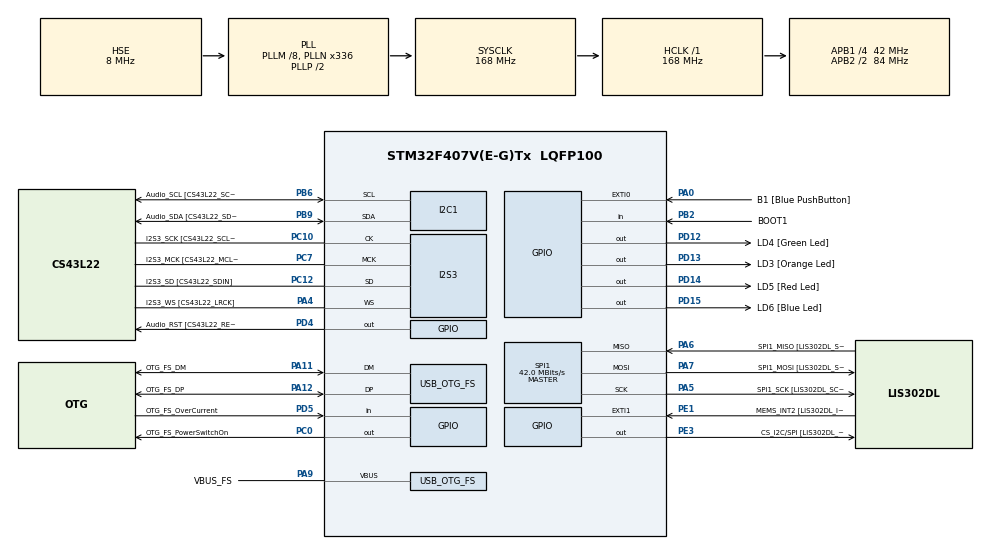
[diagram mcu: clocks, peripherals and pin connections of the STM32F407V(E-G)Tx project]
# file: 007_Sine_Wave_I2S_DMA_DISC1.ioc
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I2S3.AudioFreq=I2S_AUDIOFREQ_96K
I2S3.AudioFreq-Half_Duplex_Master=I2S_AUDIOFREQ_96K
I2S3.ErrorAudioFreq=-0.01 %
I2S3.ErrorAudioFreq-Half_Duplex_Master=0.8 %
I2S3.FullDuplexMode=I2S_FULLDUPLEXMODE_DISABLE
I2S3.Instance=SPI$Index
I2S3.RealAudioFreq=95.982 KHz
I2S3.RealAudioFreq-Half_Duplex_Master=96.774 KHz
I2S3.VirtualMode=I2S_MODE_MASTER
Mcu.Family=STM32F4
Mcu.Name=STM32F407V(E-G)Tx
Mcu.Package=LQFP100
NVIC.OTG_FS_IRQn=true\:0\:0\:false\:false\:true\:true\:true\:true
NVIC.PriorityGroup=NVIC_PRIORITYGROUP_0
NVIC.SPI3_IRQn=true\:0\:0\:false\:false\:true\:true\:true\:true
PA0-WKUP.GPIO_Label=B1 [Blue PushButton]
PA0-WKUP.GPIO_ModeDefaultEXTI=GPIO_MODE_EVT_RISING
PA0-WKUP.GPIO_PuPd=GPIO_NOPULL
PA0-WKUP.Signal=GPXTI0
PA10.GPIO_Label=OTG_FS_ID
PA10.GPIO_Mode=GPIO_MODE_AF_PP
PA10.GPIO_PuPd=GPIO_NOPULL
PA10.GPIO_Speed=GPIO_SPEED_FREQ_LOW
PA10.Signal=USB_OTG_FS_ID
PA11.GPIO_Label=OTG_FS_DM
PA11.GPIO_Mode=GPIO_MODE_AF_PP
PA11.GPIO_PuPd=GPIO_NOPULL
PA11.GPIO_Speed=GPIO_SPEED_FREQ_LOW
PA11.Mode=Host_Only
PA11.Signal=USB_OTG_FS_DM
PA12.GPIO_Label=OTG_FS_DP
PA12.GPIO_Mode=GPIO_MODE_AF_PP
PA12.GPIO_PuPd=GPIO_NOPULL
PA12.GPIO_Speed=GPIO_SPEED_FREQ_LOW
PA12.Mode=Host_Only
PA12.Signal=USB_OTG_FS_DP
PA13.GPIO_Label=SWDIO
PA13.Mode=Trace_Asynchronous_SW
PA13.Signal=SYS_JTMS-SWDIO
PA14.GPIO_Label=SWCLK
PA14.Mode=Trace_Asynchronous_SW
PA14.Signal=SYS_JTCK-SWCLK
PA4.GPIO_Label=I2S3_WS [CS43L22_LRCK]
PA4.GPIO_Mode=GPIO_MODE_AF_PP
PA4.GPIO_PuPd=GPIO_NOPULL
PA4.GPIO_Speed=GPIO_SPEED_FREQ_LOW
PA4.Mode=Half_Duplex_Master
PA4.Signal=I2S3_WS
PA5.GPIO_Label=SPI1_SCK [LIS302DL_SCL/SPC]
PA5.GPIO_Mode=GPIO_MODE_AF_PP
PA5.GPIO_PuPd=GPIO_NOPULL
PA5.GPIO_Speed=GPIO_SPEED_FREQ_LOW
PA5.Mode=Full_Duplex_Master
PA5.Signal=SPI1_SCK
PA6.GPIO_Label=SPI1_MISO [LIS302DL_SDO]
PA6.GPIO_Mode=GPIO_MODE_AF_PP
PA6.GPIO_PuPd=GPIO_NOPULL
PA6.GPIO_Speed=GPIO_SPEED_FREQ_LOW
PA6.Mode=Full_Duplex_Master
PA6.Signal=SPI1_MISO
PA7.GPIO_Label=SPI1_MOSI [LIS302DL_SDA/SDI/SDO]
PA7.GPIO_Mode=GPIO_MODE_AF_PP
PA7.GPIO_PuPd=GPIO_NOPULL
PA7.GPIO_Speed=GPIO_SPEED_FREQ_LOW
PA7.Mode=Full_Duplex_Master
PA7.Signal=SPI1_MOSI
PA9.GPIO_Label=VBUS_FS
PA9.GPIO_Mode=GPIO_MODE_INPUT
PA9.GPIO_PuPd=GPIO_NOPULL
PA9.Mode=Activate_VBUS
PA9.Signal=USB_OTG_FS_VBUS
PB10.GPIO_Label=CLK_IN [MP45DT02_CLK]
PB10.GPIO_Mode=GPIO_MODE_AF_PP
PB10.GPIO_PuPd=GPIO_NOPULL
PB10.GPIO_Speed=GPIO_SPEED_FREQ_LOW
PB10.Signal=I2S2_CK
PB2.GPIO_Label=BOOT1
PB2.GPIO_Mode=GPIO_MODE_INPUT
PB2.GPIO_PuPd=GPIO_NOPULL
PB2.Signal=GPIO_Input
PB3.GPIO_Label=SWO
PB3.Mode=Trace_Asynchronous_SW
PB3.Signal=SYS_JTDO-SWO
PB6.GPIO_Label=Audio_SCL [CS43L22_SCL]
PB6.GPIO_Mode=GPIO_MODE_AF_OD
PB6.GPIO_Pu=GPIO_PULLUP
PB6.GPIO_PuPd=GPIO_NOPULL
PB6.GPIO_Speed=GPIO_SPEED_FREQ_LOW
PB6.Mode=I2C
PB6.Signal=I2C1_SCL
PB9.GPIO_Label=Audio_SDA [CS43L22_SDA]
PB9.GPIO_Mode=GPIO_MODE_AF_OD
PB9.GPIO_Pu=GPIO_PULLUP
PB9.GPIO_PuPd=GPIO_NOPULL
PB9.GPIO_Speed=GPIO_SPEED_FREQ_LOW
PB9.Mode=I2C
PB9.Signal=I2C1_SDA
PC0.GPIO_Label=OTG_FS_PowerSwitchOn
PC0.GPIO_PuPd=GPIO_NOPULL
PC0.GPIO_Speed=GPIO_SPEED_FREQ_LOW
PC0.PinState=GPIO_PIN_SET
PC0.Signal=GPIO_Output
PC10.GPIO_Label=I2S3_SCK [CS43L22_SCLK]
PC10.GPIO_Mode=GPIO_MODE_AF_PP
PC10.GPIO_PuPd=GPIO_NOPULL
PC10.GPIO_Speed=GPIO_SPEED_FREQ_LOW
PC10.Mode=Half_Duplex_Master
PC10.Signal=I2S3_CK
PC12.GPIO_Label=I2S3_SD [CS43L22_SDIN]
PC12.GPIO_Mode=GPIO_MODE_AF_PP
PC12.GPIO_PuPd=GPIO_NOPULL
PC12.GPIO_Speed=GPIO_SPEED_FREQ_LOW
PC12.Mode=Half_Duplex_Master
PC12.Signal=I2S3_SD
PC14-OSC32_IN.GPIO_Label=PC14-OSC32_IN
PC14-OSC32_IN.Mode=LSE-External-Oscillator
PC14-OSC32_IN.Signal=RCC_OSC32_IN
PC15-OSC32_OUT.GPIO_Label=PC15-OSC32_OUT
PC15-OSC32_OUT.Mode=LSE-External-Oscillator
PC15-OSC32_OUT.Signal=RCC_OSC32_OUT
PC3.GPIO_Label=PDM_OUT [MP45DT02_DOUT]
PC3.GPIO_Mode=GPIO_MODE_AF_PP
PC3.GPIO_PuPd=GPIO_NOPULL
PC3.GPIO_Speed=GPIO_SPEED_FREQ_LOW
PC3.Signal=I2S2_SD
PC7.GPIO_Label=I2S3_MCK [CS43L22_MCLK]
PC7.GPIO_Mode=GPIO_MODE_AF_PP
PC7.GPIO_PuPd=GPIO_NOPULL
PC7.GPIO_Speed=GPIO_SPEED_FREQ_LOW
PC7.Mode=Master_Clock_Activated
PC7.Signal=I2S3_MCK
PD12.GPIO_Label=LD4 [Green Led]
PD12.GPIO_PuPd=GPIO_NOPULL
PD12.GPIO_Speed=GPIO_SPEED_FREQ_LOW
PD12.Signal=GPIO_Output
PD13.GPIO_Label=LD3 [Orange Led]
PD13.GPIO_PuPd=GPIO_NOPULL
PD13.GPIO_Speed=GPIO_SPEED_FREQ_LOW
PD13.Signal=GPIO_Output
PD14.GPIO_Label=LD5 [Red Led]
PD14.GPIO_PuPd=GPIO_NOPULL
PD14.GPIO_Speed=GPIO_SPEED_FREQ_LOW
PD14.Signal=GPIO_Output
PD15.GPIO_Label=LD6 [Blue Led]
PD15.GPIO_PuPd=GPIO_NOPULL
PD15.GPIO_Speed=GPIO_SPEED_FREQ_LOW
PD15.Signal=GPIO_Output
PD4.GPIO_Label=Audio_RST [CS43L22_RESET]
PD4.GPIO_PuPd=GPIO_NOPULL
PD4.GPIO_Speed=GPIO_SPEED_FREQ_LOW
PD4.Signal=GPIO_Output
PD5.GPIO_Label=OTG_FS_OverCurrent
PD5.GPIO_Mode=GPIO_MODE_INPUT
PD5.GPIO_PuPd=GPIO_NOPULL
PD5.Signal=GPIO_Input
PE1.GPIO_Label=MEMS_INT2 [LIS302DL_INT2]
PE1.GPIO_ModeDefaultEXTI=GPIO_MODE_EVT_RISING
PE1.GPIO_PuPd=GPIO_NOPULL
PE1.Signal=GPXTI1
PE3.GPIO_Label=CS_I2C/SPI [LIS302DL_CS_I2C/SPI]
PE3.GPIO_PuPd=GPIO_NOPULL
PE3.GPIO_Speed=GPIO_SPEED_FREQ_LOW
PE3.Signal=GPIO_Output
PH0-OSC_IN.GPIO_Label=PH0-OSC_IN
PH0-OSC_IN.Mode=HSE-External-Oscillator
PH0-OSC_IN.Signal=RCC_OSC_IN
PH1-OSC_OUT.GPIO_Label=PH1-OSC_OUT
PH1-OSC_OUT.Mode=HSE-External-Oscillator
PH1-OSC_OUT.Signal=RCC_OSC_OUT
ProjectManager.HeapSize=0x200
ProjectManager.StackSize=0x400
ProjectManager.TargetToolchain=STM32CubeIDE
RCC.48MHZClocksFreq_Value=48000000
RCC.AHBFreq_Value=168000000
RCC.APB1CLKDivider=RCC_HCLK_DIV4
RCC.APB1Freq_Value=42000000
RCC.APB1TimFreq_Value=84000000
RCC.APB2CLKDivider=RCC_HCLK_DIV2
RCC.APB2Freq_Value=84000000
RCC.APB2TimFreq_Value=168000000
RCC.CortexFreq_Value=168000000
RCC.HCLKFreq_Value=168000000
RCC.HSE_VALUE=8000000
RCC.HSI_VALUE=16000000
RCC.PLLI2SN=344
RCC.PLLM=8
RCC.PLLN=336
RCC.PLLQ=7
RCC.SYSCLKFreq_VALUE=168000000
RCC.SYSCLKSource=RCC_SYSCLKSOURCE_PLLCLK
RCC.VCOOutputFreq_Value=336000000
SPI1.BaudRatePrescaler=SPI_BAUDRATEPRESCALER_2
SPI1.BaudRatePrescaler-Full_Duplex_Master=SPI_BAUDRATEPRESCALER_2
SPI1.CalculateBaudRate=42.0 MBits/s
SPI1.CalculateBaudRate-Full_Duplex_Master=42.0 MBits/s
SPI1.Direction=SPI_DIRECTION_2LINES
SPI1.Mode=SPI_MODE_MASTER
SPI1.Mode-Full_Duplex_Master=SPI_MODE_MASTER
SPI1.VirtualType=VM_MASTER
USB_HOST.BSP.number=1
USB_HOST.USBH_HandleTypeDef-CDC_FS=hUsbHostFS
USB_HOST.VirtualModeFS=Cdc
USB_HOST0.BSP.STBoard=false
USB_HOST0.BSP.api=Unknown
USB_HOST0.BSP.instance=PC0
USB_HOST0.BSP.ip=GPIO
USB_HOST0.BSP.mode=Output
USB_HOST0.BSP.name=Drive_VBUS_FS
USB_HOST0.BSP.solution=PC0
USB_OTG_FS.VirtualMode=Host_Only
USB_OTG_FS.phy_itface=HCD_PHY_EMBEDDED
VP_USB_HOST_VS_USB_HOST_CDC_FS.Mode=CDC_FS
board=STM32F407G-DISC1

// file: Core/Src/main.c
/* USER CODE BEGIN Header */
/**
  ******************************************************************************
  * @file           : main.c
  * @brief          : Main program body
  ******************************************************************************
  * @attention
  *
  * Copyright (c) 2025 STMicroelectronics.
  * All rights reserved.
  *
  * This software is licensed under terms that can be found in the LICENSE file
  * in the root directory of this software component.
  * If no LICENSE file comes with this software, it is provided AS-IS.
  *
  ******************************************************************************
  */
/* USER CODE END Header */
#include "main.h"
#include "usb_host.h"

/* USER CODE BEGIN Includes */

#include <stdio.h>
#include <math.h>
#include "arm_math.h"
#include "cs43l22.h"

/* USER CODE END Includes */

/* USER CODE BEGIN PD */

#define TAU 6.283185307179586476925286766559
#define I2S_DMA_BUFFER_SAMPLES 96
#define I2S_DMA_BUFFER_SIZE 2 * 2 * I2S_DMA_BUFFER_SAMPLES
#define SAMPLE_FREQ 96000
#define OUTPUT_MID 32767

/* USER CODE END PD */

I2C_HandleTypeDef hi2c1;

I2S_HandleTypeDef hi2s3;

SPI_HandleTypeDef hspi1;

/* USER CODE BEGIN PV */

CS43L22_HandleTypeDef cs;

int16_t i2s_dma_buffer[I2S_DMA_BUFFER_SIZE];

float angle[2] = {
  0,
  0
};

float angle_change[2] = {
  440.0 * (TAU / SAMPLE_FREQ), // left
  880.0 * (TAU / SAMPLE_FREQ)  // right
};

float amplification[2] = {
  1,
  1
};

uint8_t dma_buffer_processing = 0;
uint32_t dma_overflow = 0;

uint32_t i2c_cb, i2c_hcb;

/* USER CODE END PV */

void SystemClock_Config(void);
static void MX_GPIO_Init(void);
static void MX_I2C1_Init(void);
static void MX_I2S3_Init(void);
static void MX_SPI1_Init(void);
void MX_USB_HOST_Process(void);

/* USER CODE BEGIN 0 */

int _write(int file, char *ptr, int len) {
  for (int i = 0; i < len; ++i) {
    ITM_SendChar(*ptr++);
  }
  return len;
}

void process_buffer(int16_t *buffer) {

  dma_buffer_processing = 1;

  for (int i = 0; i < I2S_DMA_BUFFER_SAMPLES; ++i) { // Two samples left/right per step

    buffer[i * 2] = OUTPUT_MID * amplification[0] * arm_sin_f32(angle[0]);      // Left
    buffer[i * 2 + 1] = OUTPUT_MID * amplification[1] * arm_sin_f32(angle[1]);  // Right

    angle[0] += angle_change[0];
    angle[1] += angle_change[1];

    if (angle[0] > TAU)
      angle[0] -= TAU;
    if (angle[1] > TAU)
      angle[1] -= TAU;
  }

  dma_buffer_processing = 0;

}

void HAL_I2S_TxCpltCallback(I2S_HandleTypeDef *hi2s) {
  if (dma_buffer_processing) {
    ++dma_overflow; // Still processing previous buffer
  } else {
    process_buffer(&i2s_dma_buffer[2 * I2S_DMA_BUFFER_SAMPLES]); // Second half
    ++i2c_cb;
  }
}

void HAL_I2S_TxHalfCpltCallback(I2S_HandleTypeDef *hi2s) {
  if (dma_buffer_processing) {
    ++dma_overflow; // Still processing previous buffer
  } else {
    process_buffer(&i2s_dma_buffer[0]);
    ++i2c_hcb;
  }

}

/* USER CODE END 0 */

int main(void)
{

  /* MCU Configuration--------------------------------------------------------*/

  /* Reset of all peripherals, Initializes the Flash interface and the Systick. */
  HAL_Init();

  /* Configure the system clock */
  SystemClock_Config();

  /* Initialize all configured peripherals */
  MX_GPIO_Init();
  MX_I2C1_Init();
  MX_I2S3_Init();
  MX_SPI1_Init();
  MX_USB_HOST_Init();
  /* USER CODE BEGIN 2 */

  printf("\n\n\n--------\nStarting\n");

  //    // Go through all possible i2c addresses
  //    printf("\nI2C Bus Scan\n");
  //    for (uint8_t i = 0; i < 128; i++) {
  //
  //        if (HAL_I2C_IsDeviceReady(&hi2c1, (uint16_t) (i << 1), 3, 5) == HAL_OK) {
  //            // We got an ack
  //            printf("%2x ", i);
  //        } else {
  //            printf("-- ");
  //        }
  //
  //        if (i > 0 && (i + 1) % 16 == 0)
  //            printf("\n");
  //
  //    }
  //
  //    printf("\n");

  if (cs_init(&cs, &hi2c1, CS43L22_DEFAULT_ADDR, CS_RST_GPIO_Port, CS_RST_Pin)) {
    printf("Error: cs_init failed\n");
  }

  cs_hp_vol(&cs, 255);

  HAL_I2S_Transmit_DMA(&hi2s3, (uint16_t*) &i2s_dma_buffer, I2S_DMA_BUFFER_SIZE);

  /* USER CODE END 2 */

  /* Infinite loop */
  /* USER CODE BEGIN WHILE */

  uint32_t loop = 0;
  uint32_t now = 0;
  uint32_t next_tick = 1000;

  while (1)
  {

    now = uwTick;

    if (now >= next_tick) {
      printf("Tick %lu (l=%lu o=%lu ch=%lu cf=%lu)\n", now / 1000, loop, dma_overflow, i2c_hcb, i2c_cb);
      loop = 0;
      next_tick = now + 1000;
    }

    ++loop;

    /* USER CODE END WHILE */
    MX_USB_HOST_Process();

  }
}

void SystemClock_Config(void)
{
  RCC_OscInitTypeDef RCC_OscInitStruct = {0};
  RCC_ClkInitTypeDef RCC_ClkInitStruct = {0};

  /** Configure the main internal regulator output voltage
  */
  __HAL_RCC_PWR_CLK_ENABLE();
  __HAL_PWR_VOLTAGESCALING_CONFIG(PWR_REGULATOR_VOLTAGE_SCALE1);

  /** Initializes the RCC Oscillators according to the specified parameters
  * in the RCC_OscInitTypeDef structure.
  */
  RCC_OscInitStruct.OscillatorType = RCC_OSCILLATORTYPE_HSE;
  RCC_OscInitStruct.HSEState = RCC_HSE_ON;
  RCC_OscInitStruct.PLL.PLLState = RCC_PLL_ON;
  RCC_OscInitStruct.PLL.PLLSource = RCC_PLLSOURCE_HSE;
  RCC_OscInitStruct.PLL.PLLM = 8;
  RCC_OscInitStruct.PLL.PLLN = 336;
  RCC_OscInitStruct.PLL.PLLP = RCC_PLLP_DIV2;
  RCC_OscInitStruct.PLL.PLLQ = 7;
  if (HAL_RCC_OscConfig(&RCC_OscInitStruct) != HAL_OK)
  {
    Error_Handler();
  }

  /** Initializes the CPU, AHB and APB buses clocks
  */
  RCC_ClkInitStruct.ClockType = RCC_CLOCKTYPE_HCLK|RCC_CLOCKTYPE_SYSCLK
                              |RCC_CLOCKTYPE_PCLK1|RCC_CLOCKTYPE_PCLK2;
  RCC_ClkInitStruct.SYSCLKSource = RCC_SYSCLKSOURCE_PLLCLK;
  RCC_ClkInitStruct.AHBCLKDivider = RCC_SYSCLK_DIV1;
  RCC_ClkInitStruct.APB1CLKDivider = RCC_HCLK_DIV4;
  RCC_ClkInitStruct.APB2CLKDivider = RCC_HCLK_DIV2;

  if (HAL_RCC_ClockConfig(&RCC_ClkInitStruct, FLASH_LATENCY_5) != HAL_OK)
  {
    Error_Handler();
  }
}

static void MX_I2C1_Init(void)
{

  hi2c1.Instance = I2C1;
  hi2c1.Init.ClockSpeed = 100000;
  hi2c1.Init.DutyCycle = I2C_DUTYCYCLE_2;
  hi2c1.Init.OwnAddress1 = 0;
  hi2c1.Init.AddressingMode = I2C_ADDRESSINGMODE_7BIT;
  hi2c1.Init.DualAddressMode = I2C_DUALADDRESS_DISABLE;
  hi2c1.Init.OwnAddress2 = 0;
  hi2c1.Init.GeneralCallMode = I2C_GENERALCALL_DISABLE;
  hi2c1.Init.NoStretchMode = I2C_NOSTRETCH_DISABLE;
  if (HAL_I2C_Init(&hi2c1) != HAL_OK)
  {
    Error_Handler();
  }

}

static void MX_I2S3_Init(void)
{

  hi2s3.Instance = SPI3;
  hi2s3.Init.Mode = I2S_MODE_MASTER_TX;
  hi2s3.Init.Standard = I2S_STANDARD_PHILIPS;
  hi2s3.Init.DataFormat = I2S_DATAFORMAT_16B;
  hi2s3.Init.MCLKOutput = I2S_MCLKOUTPUT_ENABLE;
  hi2s3.Init.AudioFreq = I2S_AUDIOFREQ_96K;
  hi2s3.Init.CPOL = I2S_CPOL_LOW;
  hi2s3.Init.ClockSource = I2S_CLOCK_PLL;
  hi2s3.Init.FullDuplexMode = I2S_FULLDUPLEXMODE_DISABLE;
  if (HAL_I2S_Init(&hi2s3) != HAL_OK)
  {
    Error_Handler();
  }

}

static void MX_SPI1_Init(void)
{

  /* SPI1 parameter configuration*/
  hspi1.Instance = SPI1;
  hspi1.Init.Mode = SPI_MODE_MASTER;
  hspi1.Init.Direction = SPI_DIRECTION_2LINES;
  hspi1.Init.DataSize = SPI_DATASIZE_8BIT;
  hspi1.Init.CLKPolarity = SPI_POLARITY_LOW;
  hspi1.Init.CLKPhase = SPI_PHASE_1EDGE;
  hspi1.Init.NSS = SPI_NSS_SOFT;
  hspi1.Init.BaudRatePrescaler = SPI_BAUDRATEPRESCALER_2;
  hspi1.Init.FirstBit = SPI_FIRSTBIT_MSB;
  hspi1.Init.TIMode = SPI_TIMODE_DISABLE;
  hspi1.Init.CRCCalculation = SPI_CRCCALCULATION_DISABLE;
  hspi1.Init.CRCPolynomial = 10;
  if (HAL_SPI_Init(&hspi1) != HAL_OK)
  {
    Error_Handler();
  }

}

static void MX_GPIO_Init(void)
{
  GPIO_InitTypeDef GPIO_InitStruct = {0};

  /* GPIO Ports Clock Enable */
  __HAL_RCC_GPIOE_CLK_ENABLE();
  __HAL_RCC_GPIOC_CLK_ENABLE();
  __HAL_RCC_GPIOH_CLK_ENABLE();
  __HAL_RCC_GPIOA_CLK_ENABLE();
  __HAL_RCC_GPIOB_CLK_ENABLE();
  __HAL_RCC_GPIOD_CLK_ENABLE();

  /*Configure GPIO pin Output Level */
  HAL_GPIO_WritePin(CS_I2C_SPI_GPIO_Port, CS_I2C_SPI_Pin, GPIO_PIN_RESET);

  /*Configure GPIO pin Output Level */
  HAL_GPIO_WritePin(OTG_FS_PowerSwitchOn_GPIO_Port, OTG_FS_PowerSwitchOn_Pin, GPIO_PIN_SET);

  /*Configure GPIO pin Output Level */
  HAL_GPIO_WritePin(GPIOD, LD4_Pin|LD3_Pin|LD5_Pin|LD6_Pin
                          |Audio_RST_Pin, GPIO_PIN_RESET);

  /*Configure GPIO pin : CS_I2C_SPI_Pin */
  GPIO_InitStruct.Pin = CS_I2C_SPI_Pin;
  GPIO_InitStruct.Mode = GPIO_MODE_OUTPUT_PP;
  GPIO_InitStruct.Pull = GPIO_NOPULL;
  GPIO_InitStruct.Speed = GPIO_SPEED_FREQ_LOW;
  HAL_GPIO_Init(CS_I2C_SPI_GPIO_Port, &GPIO_InitStruct);

  /*Configure GPIO pin : OTG_FS_PowerSwitchOn_Pin */
  GPIO_InitStruct.Pin = OTG_FS_PowerSwitchOn_Pin;
  GPIO_InitStruct.Mode = GPIO_MODE_OUTPUT_PP;
  GPIO_InitStruct.Pull = GPIO_NOPULL;
  GPIO_InitStruct.Speed = GPIO_SPEED_FREQ_LOW;
  HAL_GPIO_Init(OTG_FS_PowerSwitchOn_GPIO_Port, &GPIO_InitStruct);

  /*Configure GPIO pin : PDM_OUT_Pin */
  GPIO_InitStruct.Pin = PDM_OUT_Pin;
  GPIO_InitStruct.Mode = GPIO_MODE_AF_PP;
  GPIO_InitStruct.Pull = GPIO_NOPULL;
  GPIO_InitStruct.Speed = GPIO_SPEED_FREQ_LOW;
  GPIO_InitStruct.Alternate = GPIO_AF5_SPI2;
  HAL_GPIO_Init(PDM_OUT_GPIO_Port, &GPIO_InitStruct);

  /*Configure GPIO pin : B1_Pin */
  GPIO_InitStruct.Pin = B1_Pin;
  GPIO_InitStruct.Mode = GPIO_MODE_EVT_RISING;
  GPIO_InitStruct.Pull = GPIO_NOPULL;
  HAL_GPIO_Init(B1_GPIO_Port, &GPIO_InitStruct);

  /*Configure GPIO pin : BOOT1_Pin */
  GPIO_InitStruct.Pin = BOOT1_Pin;
  GPIO_InitStruct.Mode = GPIO_MODE_INPUT;
  GPIO_InitStruct.Pull = GPIO_NOPULL;
  HAL_GPIO_Init(BOOT1_GPIO_Port, &GPIO_InitStruct);

  /*Configure GPIO pin : CLK_IN_Pin */
  GPIO_InitStruct.Pin = CLK_IN_Pin;
  GPIO_InitStruct.Mode = GPIO_MODE_AF_PP;
  GPIO_InitStruct.Pull = GPIO_NOPULL;
  GPIO_InitStruct.Speed = GPIO_SPEED_FREQ_LOW;
  GPIO_InitStruct.Alternate = GPIO_AF5_SPI2;
  HAL_GPIO_Init(CLK_IN_GPIO_Port, &GPIO_InitStruct);

  /*Configure GPIO pins : LD4_Pin LD3_Pin LD5_Pin LD6_Pin
                           Audio_RST_Pin */
  GPIO_InitStruct.Pin = LD4_Pin|LD3_Pin|LD5_Pin|LD6_Pin
                          |Audio_RST_Pin;
  GPIO_InitStruct.Mode = GPIO_MODE_OUTPUT_PP;
  GPIO_InitStruct.Pull = GPIO_NOPULL;
  GPIO_InitStruct.Speed = GPIO_SPEED_FREQ_LOW;
  HAL_GPIO_Init(GPIOD, &GPIO_InitStruct);

  /*Configure GPIO pin : OTG_FS_OverCurrent_Pin */
  GPIO_InitStruct.Pin = OTG_FS_OverCurrent_Pin;
  GPIO_InitStruct.Mode = GPIO_MODE_INPUT;
  GPIO_InitStruct.Pull = GPIO_NOPULL;
  HAL_GPIO_Init(OTG_FS_OverCurrent_GPIO_Port, &GPIO_InitStruct);

  /*Configure GPIO pin : MEMS_INT2_Pin */
  GPIO_InitStruct.Pin = MEMS_INT2_Pin;
  GPIO_InitStruct.Mode = GPIO_MODE_EVT_RISING;
  GPIO_InitStruct.Pull = GPIO_NOPULL;
  HAL_GPIO_Init(MEMS_INT2_GPIO_Port, &GPIO_InitStruct);

}

void Error_Handler(void)
{
  __disable_irq();
  while (1)
  {
  }
}
